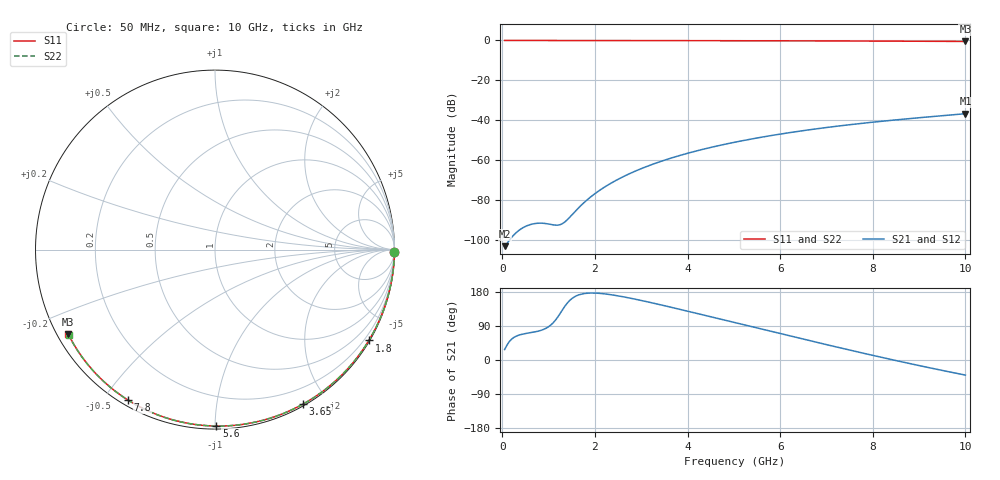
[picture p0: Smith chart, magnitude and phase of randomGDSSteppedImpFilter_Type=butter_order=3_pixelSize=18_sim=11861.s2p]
! freq	dB(S11)	phase(S11)	dB(S12)	phase(S12)
!  dB(S21)	phase(S21)	dB(S22)	phase(S22)
!S-par simulation data
#  GHz  S  DB  R 50
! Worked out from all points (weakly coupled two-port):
!   200 points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, 50 MHz to 10 GHz, reference 50 ohm
!   highest |S21| = -36.76 dB at 10 GHz (marker M1); lowest = -103.2 dB at 50 MHz (marker M2)
!   lowest |S11| = -0.5 dB at 10 GHz (marker M3), VSWR 34.42, Z = 1.56 - j13.4 ohm
!   |S11| at or under -10 dB: nowhere
!   |S22| runs from -0.5 to 0.0 dB; largest |S21 - S12| = 0
!   S11 on the Smith chart (normalised r, x): 50 MHz: open; 1.8 GHz: 0.03, -3.66; 3.65 GHz: 0.02, -1.72; 5.6 GHz: 0.02, -1.01; 7.8 GHz: 0.02, -0.58; 10 GHz: 0.03, -0.27
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0.05  -0.00 -0.9  -103.23 27.6  -103.23 27.6  -0.00 -0.9
0.45  -0.01 -7.8  -93.92 68.6  -93.92 68.6  -0.01 -7.8
0.9  -0.02 -15.4  -91.78 81.2  -91.78 81.2  -0.02 -15.5
1.75  -0.04 -29.7  -81.70 174.9  -81.70 174.9  -0.04 -29.9
1.8  -0.04 -30.5  -80.64 175.8  -80.64 175.8  -0.04 -30.7
1.85  -0.04 -31.4  -79.64 176.4  -79.64 176.4  -0.04 -31.5
2.05  -0.04 -34.7  -76.03 176.3  -76.03 176.3  -0.04 -34.9
2.2  -0.05 -37.2  -73.70 174.7  -73.70 174.7  -0.05 -37.3
2.55  -0.05 -42.9  -69.07 168.2  -69.07 168.2  -0.05 -43.1
2.95  -0.06 -49.3  -64.80 158.4  -64.80 158.4  -0.06 -49.5
3.4  -0.07 -56.5  -60.87 146.2  -60.87 146.2  -0.07 -56.7
3.65  -0.08 -60.4  -58.99 139.0  -58.99 139.0  -0.08 -60.6
4.3  -0.10 -70.4  -54.80 120.0  -54.80 120.0  -0.10 -70.6
5.05  -0.13 -81.5  -50.92 97.8  -50.92 97.8  -0.12 -81.8
5.6  -0.15 -89.5  -48.53 81.5  -48.53 81.5  -0.15 -89.8
6.15  -0.17 -97.4  -46.45 65.3  -46.45 65.3  -0.17 -97.6
6.7  -0.20 -105.0  -44.60 49.2  -44.60 49.2  -0.20 -105.3
7.25  -0.24 -112.6  -42.97 33.4  -42.97 33.4  -0.24 -112.8
7.8  -0.28 -120.1  -41.51 17.8  -41.51 17.8  -0.28 -120.2
8.35  -0.33 -127.5  -40.19 2.6  -40.19 2.6  -0.32 -127.5
9.2  -0.41 -139.0  -38.37 -19.9  -38.37 -19.9  -0.40 -138.9
10  -0.50 -150.0  -36.76 -39.8  -36.76 -39.8  -0.49 -149.6
